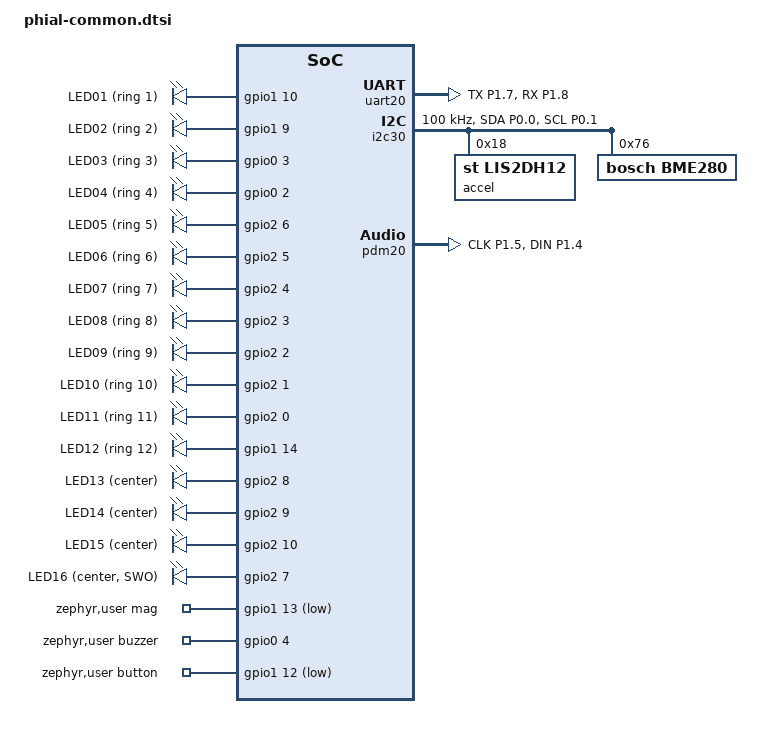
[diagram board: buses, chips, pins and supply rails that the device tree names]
/*
 * Phial board hardware description — shared across every app in this repo.
 * Pulled in by each app's `boards/<board_target>.overlay` via #include.
 *
 * Source of truth for pin assignments: docs/superpowers/specs/2026-05-14-phial-bringup-design.md
 *
 * NOTE: LEDs 13–16 are on the TRACEDATA / SWO pins (P2.07–P2.10). They work
 * fine as plain GPIOs, but enabling SWO-based debug output will collide with
 * LED16 (P2.07). Standard SWD debug on the dedicated SWDIO/SWCLK pins is
 * unaffected.
 *
 * We build against the `nrf54l15dk/nrf54l15/cpuapp` target, which enables a
 * bunch of DK-specific peripherals that claim GPIO pins overlapping with the
 * Phial LEDs. The block below disables them and deletes the DK's onboard
 * LED / button nodes. Without this, ~10 of the 16 LEDs are silently grabbed
 * by spi00 / pwm20 / uart30 / DK gpio-leds / DK gpio-keys and won't toggle.
 */

/* ---------------------------------------------------------------------------
 * Disable DK peripherals whose default pinctrl claims Phial LED pins
 * ------------------------------------------------------------------------- */

&spi00 {
    /* DK QSPI flash on P2.01 (SCK) / P2.02 (MOSI) / P2.04 (MISO) / P2.05 (CS)
     * — those are our LED10 / LED09 / LED07 / LED06. Phial has no QSPI flash. */
    status = "disabled";
};

&mx25r64 {
    /* Flash chip child of the now-disabled spi00 — disable for clarity. */
    status = "disabled";
};

&pwm20 {
    /* DK's pwm20 default routes PWM_OUT0 to P1.10 = our LED01. We will
     * re-enable pwm20 in Phase 2 with our own pinctrl group for pwm-leds. */
    status = "disabled";
};

/* The DK common dtsi defines a `pwm-leds` node (`/pwmleds`) whose sole child
 * references &pwm20. As of NCS 3.2.3 the led_pwm driver resolves that phandle
 * for EVERY child (DT_INST_FOREACH_CHILD_SEP is not status-filtered), so a
 * disabled pwm20 makes led_pwm.c fail to build with `__device_dts_ord_NN
 * undeclared`. Disable the whole pwm-leds node (it is unlabeled, hence the
 * path reference) so no led_pwm instance is generated. Phial drives its LEDs
 * via plain GPIO, not PWM. */
&{/pwmleds} {
    status = "disabled";
};

&uart30 {
    /* DK's uart30 default routes RTS to P0.02 = our LED04. uart30 isn't
     * used on Phial. */
    status = "disabled";
};

/* uart20 (the DK's J-Link VCOM UART) is left status="okay" so the
 * shell-serial backend has a binding. Its default pinctrl puts TX/RX/RTS/CTS
 * on P1.04–P1.07, none of which are Phial LED pins, so no conflict — but
 * those are the DK's VCOM pins, not the Phial's actual UART pins.
 *
 * On Phial the UART is routed through the Tag-Connect SWD debug header
 * (J103): TX on pin 7, RX on pin 8.  Those connect to nRF54L15 pins
 * P1.08 (TX) and P1.07 (RX) respectively — see the KiCad netlist nets
 * /nRF52_TX and /nRF52_RX (pads 9 and 8 of the QFAA package).
 *
 * We override uart20's pinctrl below with the Phial-specific group that
 * routes TX→P1.08, RX→P1.07, no flow control. */

&pinctrl {
    /omit-if-no-ref/ uart20_phial_default: uart20_phial_default {
        group1 {
            psels = <NRF_PSEL(UART_TX, 1, 7)>;
        };
        group2 {
            psels = <NRF_PSEL(UART_RX, 1, 8)>;
            bias-pull-up;
        };
    };

    /omit-if-no-ref/ uart20_phial_sleep: uart20_phial_sleep {
        group1 {
            psels = <NRF_PSEL(UART_TX, 1, 7)>,
                    <NRF_PSEL(UART_RX, 1, 8)>;
            low-power-enable;
        };
    };
};

&uart20 {
    pinctrl-0 = <&uart20_phial_default>;
    pinctrl-1 = <&uart20_phial_sleep>;
    pinctrl-names = "default", "sleep";
};

/* ---------------------------------------------------------------------------
 * I²C bus — SERIAL30 as TWIM on the Phial's port-0 pins.
 *
 * uart20 owns SERIAL instance 20, so I²C uses instance 30. Instance 30 is the
 * low-power-domain serial peripheral, and it is the one that can reach port-0
 * GPIOs — the high-speed instances (20/21/22) route to P1/P2 only. uart30 is
 * disabled above, which frees SERIAL30 for TWIM use here (same peripheral,
 * different personality — only one may be "okay").
 *
 * Phial schematic: SDA = P0.00, SCL = P0.01. Internal pull-ups are enabled as
 * a bring-up safety net; harmless if the board also fits external pull-ups.
 *
 * Bus hosts BME280, LIS2DH (U10), ATECC608B, nPM2100. We instantiate only the
 * controller for now so `i2c scan i2c30` works; per-sensor child nodes +
 * bindings come in Phase 2 once `i2c scan` confirms the 7-bit addresses.
 * ------------------------------------------------------------------------- */

&pinctrl {
    /omit-if-no-ref/ i2c30_phial_default: i2c30_phial_default {
        group1 {
            psels = <NRF_PSEL(TWIM_SDA, 0, 0)>,
                    <NRF_PSEL(TWIM_SCL, 0, 1)>;
            bias-pull-up;
        };
    };

    /omit-if-no-ref/ i2c30_phial_sleep: i2c30_phial_sleep {
        group1 {
            psels = <NRF_PSEL(TWIM_SDA, 0, 0)>,
                    <NRF_PSEL(TWIM_SCL, 0, 1)>;
            low-power-enable;
        };
    };
};

&i2c30 {
    status = "okay";
    clock-frequency = <100000>;   /* I2C_BITRATE_STANDARD; bump to 400000 later */
    pinctrl-0 = <&i2c30_phial_default>;
    pinctrl-1 = <&i2c30_phial_sleep>;
    pinctrl-names = "default", "sleep";
};

/* LIS2DH12 3-axis accelerometer (U10) on the Phial sensor bus.
 * Dual compatible is REQUIRED: the Zephyr driver matches DT_DRV_COMPAT
 * `st_lis2dh` and CONFIG_LIS2DH depends on DT_HAS_ST_LIS2DH_ENABLED; a node
 * with only `st,lis2dh12` binds no driver. Inert for apps without
 * CONFIG_LIS2DH (e.g. led-test), so this stays in the shared overlay. */
&i2c30 {
    accel: lis2dh12@18 {
        compatible = "st,lis2dh12", "st,lis2dh";
        reg = <0x18>;
        status = "okay";
    };
};

/* BME280 temperature / humidity / pressure sensor on the Phial sensor bus.
 * Single compatible (no dual-compatible quirk like the LIS2DH12). NOTE:
 * CONFIG_BME280 is `default y` when this node is present, so the driver builds
 * into every app that includes this dtsi (not just sensor-test). Harmless —
 * a few KB of flash and an unread device. Set CONFIG_BME280=n in an app's
 * prj.conf if footprint matters there. */
&i2c30 {
    bme280: bme280@76 {
        compatible = "bosch,bme280";
        reg = <0x76>;
        status = "okay";
    };
};

/* ---------------------------------------------------------------------------
 * Delete the DK's onboard LED and button nodes
 *
 * The DK's `/leds/led_0..led_3` claim P2.09 / P1.10 / P2.07 / P1.14
 * = our LED14 / LED01 / LED16 / LED12. The DK's `/buttons/button_0..3`
 * claim P1.13 / P1.09 / P1.08 / P0.04 — button1 grabs P1.09 = our LED02
 * as an input with pull-up.
 *
 * We use label-based deletion (the DK labels these nodes).
 * ------------------------------------------------------------------------- */

/delete-node/ &led0;
/delete-node/ &led1;
/delete-node/ &led2;
/delete-node/ &led3;

/ {
    /delete-node/ buttons;

    /* DK aliases pointed at the deleted nodes — drop the dangling references.
     * Our own `led0..led15` aliases get re-added in the LED block below. */
    aliases {
        /delete-property/ led0;
        /delete-property/ led1;
        /delete-property/ led2;
        /delete-property/ led3;
        /delete-property/ sw0;
        /delete-property/ sw1;
        /delete-property/ sw2;
        /delete-property/ sw3;
        /delete-property/ mcuboot-led0;
        /delete-property/ mcuboot-button0;
    };
};

/* ---------------------------------------------------------------------------
 * Phial LEDs — 16 GPIO-driven LEDs (12 ring + 4 center)
 * ------------------------------------------------------------------------- */

/ {
    leds: leds {
        compatible = "gpio-leds";

        /* Ring LEDs 1–12 — clock-face layout */
        led01: led_01 { gpios = <&gpio1 10 GPIO_ACTIVE_HIGH>; label = "LED01 (ring 1)";  };
        led02: led_02 { gpios = <&gpio1  9 GPIO_ACTIVE_HIGH>; label = "LED02 (ring 2)";  };
        led03: led_03 { gpios = <&gpio0  3 GPIO_ACTIVE_HIGH>; label = "LED03 (ring 3)";  };
        led04: led_04 { gpios = <&gpio0  2 GPIO_ACTIVE_HIGH>; label = "LED04 (ring 4)";  };
        led05: led_05 { gpios = <&gpio2  6 GPIO_ACTIVE_HIGH>; label = "LED05 (ring 5)";  };
        led06: led_06 { gpios = <&gpio2  5 GPIO_ACTIVE_HIGH>; label = "LED06 (ring 6)";  };
        led07: led_07 { gpios = <&gpio2  4 GPIO_ACTIVE_HIGH>; label = "LED07 (ring 7)";  };
        led08: led_08 { gpios = <&gpio2  3 GPIO_ACTIVE_HIGH>; label = "LED08 (ring 8)";  };
        led09: led_09 { gpios = <&gpio2  2 GPIO_ACTIVE_HIGH>; label = "LED09 (ring 9)";  };
        led10: led_10 { gpios = <&gpio2  1 GPIO_ACTIVE_HIGH>; label = "LED10 (ring 10)"; };
        led11: led_11 { gpios = <&gpio2  0 GPIO_ACTIVE_HIGH>; label = "LED11 (ring 11)"; };
        led12: led_12 { gpios = <&gpio1 14 GPIO_ACTIVE_HIGH>; label = "LED12 (ring 12)"; };

        /* Center LEDs 13–16 — on TRACEDATA / SWO pins */
        led13: led_13 { gpios = <&gpio2  8 GPIO_ACTIVE_HIGH>; label = "LED13 (center)"; };  /* TRACEDATA1 */
        led14: led_14 { gpios = <&gpio2  9 GPIO_ACTIVE_HIGH>; label = "LED14 (center)"; };  /* TRACEDATA2 */
        led15: led_15 { gpios = <&gpio2 10 GPIO_ACTIVE_HIGH>; label = "LED15 (center)"; };  /* TRACEDATA3 */
        led16: led_16 { gpios = <&gpio2  7 GPIO_ACTIVE_HIGH>; label = "LED16 (center, SWO)"; };  /* SWO */
    };

    aliases {
        led0  = &led01;
        led1  = &led02;
        led2  = &led03;
        led3  = &led04;
        led4  = &led05;
        led5  = &led06;
        led6  = &led07;
        led7  = &led08;
        led8  = &led09;
        led9  = &led10;
        led10 = &led11;
        led11 = &led12;
        led12 = &led13;
        led13 = &led14;
        led14 = &led15;
        led15 = &led16;
    };
};

/ {
    zephyr,user {
        /* LF21115TMR omni-polar TMR magnet switch on P1.13 (former DK button0,
         * deleted above). Push-pull output: low = magnet present, so ACTIVE_LOW
         * makes the logical pin value 1 = present. No pull needed. */
        mag-gpios = <&gpio1 13 GPIO_ACTIVE_LOW>;
        /* ~4 kHz buzzer (transducer) on P0.04 (former DK button3, deleted above).
         * PWM can't reach P0 on nRF54L (power-domain split), so app/buzzer-test
         * drives it via CPU GPIO toggle. */
        buzzer-gpios = <&gpio0 4 GPIO_ACTIVE_HIGH>;
        /* "boot" button on P1.12 (a Phial button, not one of the deleted DK
         * buttons). Active-low (pressed -> GND); configured with an internal
         * pull-up in firmware. Polarity confirmed on this board. */
        button-gpios = <&gpio1 12 GPIO_ACTIVE_LOW>;
    };
};

/* ---------------------------------------------------------------------------
 * PDM microphone (MP34DT05TR-A) on pdm20.
 *
 * pdm20 is on the global peripheral bus alongside gpio1, so it can route to
 * P1 pins: MIC_CLK = P1.05, MIC_DATA = P1.04. Inert for apps that do not enable
 * CONFIG_AUDIO_DMIC (led/sensor/buzzer-test); app/mic-test drives it.
 * ------------------------------------------------------------------------- */
&pinctrl {
    /omit-if-no-ref/ pdm20_phial_default: pdm20_phial_default {
        group1 {
            psels = <NRF_PSEL(PDM_CLK, 1, 5)>,    /* MIC_CLK  P1.05 */
                    <NRF_PSEL(PDM_DIN, 1, 4)>;     /* MIC_DATA P1.04 */
        };
    };
};

&pdm20 {
    status = "okay";
    pinctrl-0 = <&pdm20_phial_default>;
    pinctrl-names = "default";
    clock-source = "PCLK32M_HFXO";   /* crystal-backed, low jitter; fall back to
                                       * "PCLK32M" if the HFXO won't start */
};

/* ---------------------------------------------------------------------------
 * mic_clip flash partition — 128 KB of RRAM for app/mic-test's WAV clip.
 *
 * Carved from the tail of the RRAM region MCUboot would use for slot1 (image-1,
 * 0xb6000, 664K). This repo builds secure-only with no MCUboot/no DFU, so slot1
 * is unused and free. 0x13c000 + 128K = 0x15c000 = the `storage` partition base
 * (abuts, no overlap); clear of cpuflpr_rram at 0x165000. Inert for apps that
 * never open it.
 *
 * The nRF54L15 SoC dtsi defines slot1_partition at 0xb6000 with size 0xa6000
 * (ending at 0x15c000). We shrink it to end at 0x13c000 (size 0x86000) to make
 * room, then declare mic_clip in the freed tail. Both changes are checked by
 * validate_rram_partitions.c at compile time.
 * ------------------------------------------------------------------------- */
&cpuapp_rram {
    partitions {
        /* Shrink slot1 so it ends at 0x13c000, freeing the tail for mic_clip. */
        slot1_partition: partition@b6000 {
            reg = <0xb6000 DT_SIZE_K(536)>;   /* 0xb6000..0x13c000 (was 664K, shrunk to free 128K for mic_clip) */
        };
        mic_clip_partition: partition@13c000 {
            label = "mic_clip";
            reg = <0x13c000 DT_SIZE_K(128)>;   /* 0x13c000..0x15c000 */
        };
    };
};
